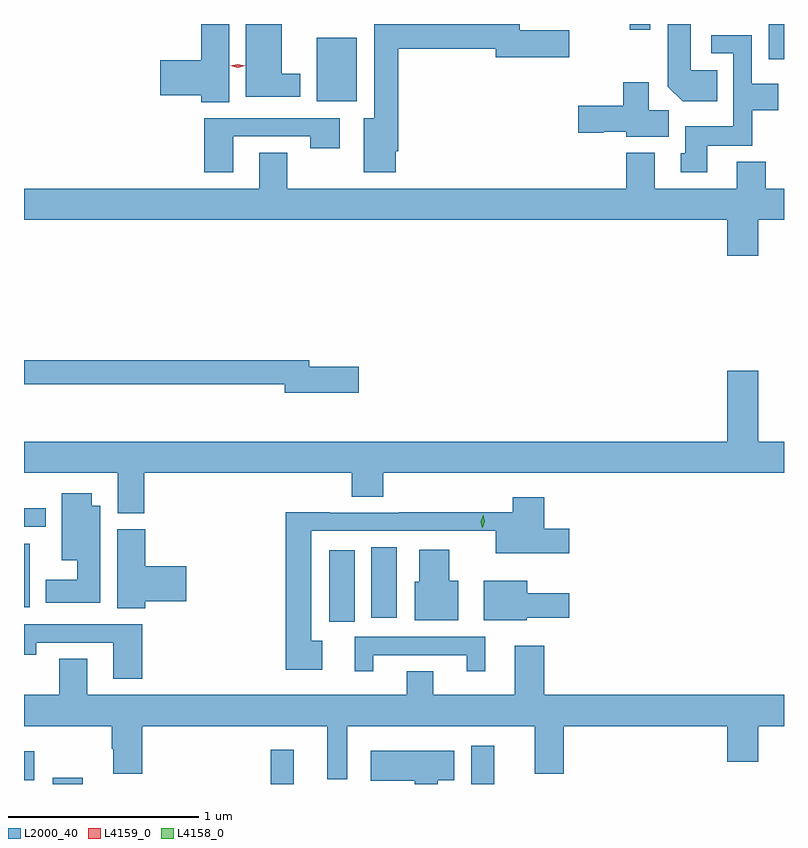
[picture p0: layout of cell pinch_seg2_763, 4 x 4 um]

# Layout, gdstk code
import gdstk
lib = gdstk.Library(unit=1e-6, precision=1e-09)
def R(c, l, rs):  # rectangles x0, y0, x1, y1
    for r in rs: c.add(gdstk.rectangle(r[:2], r[2:], *l))
def P(c, l, *ps):  # polygons
    for p in ps: c.add(gdstk.Polygon(p, *l))
L2000_40 = (2000, 40)
L4158_0 = (4158, 0)
L4159_0 = (4159, 0)

pinch_seg2_763 = lib.new_cell('pinch_seg2_763')
R(pinch_seg2_763, L2000_40, [(664.955,661.983,665.113,662.017), (666.102,661.983,666.223,662.164), (667.157,661.983,667.279,662.185), (664.804,662.003,664.858,662.155), (666.41,662.838,666.544,663.214), (666.632,662.859,666.766,663.23), (664.804,662.912,664.834,663.247), (664.804,663.336,664.918,663.434), (666.344,665.576,666.556,665.911), (668.724,665.798,668.804,665.983), (667.992,665.952,668.1,665.983)])
P(pinch_seg2_763, L2000_40, [(666.259,665.722),(666.16,665.722),(666.16,665.983),(665.972,665.983),(665.972,665.6),(666.259,665.6)],
  [(666.76,665.314),(666.773,665.314),(666.773,665.854),(667.286,665.854),(667.286,665.807),(667.675,665.807),(667.675,665.949),(667.414,665.949),(667.414,665.983),(666.647,665.983),(666.647,665.488),(666.593,665.488),(666.593,665.202),(666.76,665.202)],
  [(665.884,665.983),(665.738,665.983),(665.738,665.792),(665.52,665.792),(665.52,665.609),(665.738,665.609),(665.738,665.572),(665.884,665.572)],
  [(668.453,665.74),(668.314,665.74),(668.314,665.983),(668.192,665.983),(668.192,665.654),(668.27,665.576),(668.453,665.576)],
  [(668.401,665.342),(668.637,665.342),(668.637,665.528),(668.773,665.528),(668.773,665.668),(668.634,665.668),(668.634,665.925),(668.421,665.925),(668.421,665.829),(668.538,665.829),(668.538,665.446),(668.285,665.446),(668.285,665.304),(668.261,665.304),(668.261,665.202),(668.401,665.202)],
  [(668.197,665.528),(668.092,665.528),(668.092,665.677),(667.958,665.677),(667.958,665.552),(667.722,665.552),(667.722,665.41),(667.854,665.41),(667.854,665.417),(667.974,665.417),(667.974,665.39),(668.197,665.39)],
  [(665.905,665.391),(666.31,665.391),(666.31,665.328),(666.466,665.328),(666.466,665.487),(665.753,665.487),(665.753,665.202),(665.905,665.202)],
  [(668.668,664.952),(668.804,664.952),(668.804,665.116),(668.708,665.116),(668.708,665.257),(668.555,665.257),(668.555,665.116),(668.125,665.116),(668.125,665.305),(667.973,665.305),(667.973,665.116),(666.189,665.116),(666.189,665.306),(666.041,665.306),(666.041,665.116),(664.804,665.116),(664.804,664.952),(668.504,664.952),(668.504,664.764),(668.668,664.764)],
  [(666.565,664.178),(666.304,664.178),(666.304,664.214),(664.804,664.214),(664.804,664.086),(666.176,664.086),(666.176,664.043),(666.565,664.043)],
  [(665.438,663.62),(666.53,663.62),(666.53,663.496),(666.695,663.496),(666.695,663.62),(668.804,663.62),(668.804,663.784),(668.668,663.784),(668.668,664.159),(668.504,664.159),(668.504,663.784),(664.804,663.784),(664.804,663.62),(665.297,663.62),(665.297,663.409),(665.438,663.409)],
  [(665.206,663.448),(665.161,663.448),(665.161,663.514),(665.003,663.514),(665.003,663.161),(665.084,663.161),(665.084,663.058),(664.919,663.058),(664.919,662.936),(665.206,662.936)],
  [(666.373,662.738),(666.316,662.738),(666.316,663.315),(667.286,663.315),(667.286,663.197),(667.675,663.197),(667.675,663.327),(667.541,663.327),(667.541,663.493),(667.376,663.493),(667.376,663.413),(666.778,663.413),(666.778,663.411),(666.412,663.411),(666.412,663.413),(666.182,663.413),(666.182,662.585),(666.373,662.585)],
  [(665.441,662.945),(665.659,662.945),(665.659,663.128),(665.441,663.128),(665.441,663.324),(665.294,663.324),(665.294,662.908),(665.441,662.908)],
  [(667.09,663.052),(667.042,663.052),(667.042,663.217),(666.884,663.217),(666.884,663.048),(666.86,663.048),(666.86,662.846),(667.09,662.846)],
  [(667.449,662.857),(667.675,662.857),(667.675,662.986),(667.453,662.986),(667.453,663.052),(667.223,663.052),(667.223,662.846),(667.449,662.846)],
  [(665.426,662.823),(664.804,662.823),(664.804,662.664),(664.869,662.664),(664.869,662.727),(665.273,662.727),(665.273,662.538),(665.426,662.538)],
  [(666.643,662.661),(667.133,662.661),(667.133,662.577),(667.231,662.577),(667.231,662.757),(666.545,662.757),(666.545,662.577),(666.643,662.577)],
  [(665.137,662.642),(664.99,662.642),(664.99,662.452),(664.804,662.452),(664.804,662.288),(665.266,662.288),(665.266,662.168),(665.273,662.168),(665.273,662.036),(665.426,662.036),(665.426,662.288),(666.401,662.288),(666.401,662.007),(666.505,662.007),(666.505,662.288),(667.493,662.288),(667.493,662.036),(667.646,662.036),(667.646,662.288),(668.504,662.288),(668.504,662.1),(668.668,662.1),(668.668,662.288),(668.804,662.288),(668.804,662.452),(667.541,662.452),(667.541,662.71),(667.388,662.71),(667.388,662.452),(666.958,662.452),(666.958,662.576),(666.818,662.576),(666.818,662.452),(665.137,662.452)],
  [(666.982,662.003),(667.069,662.003),(667.069,662.158),(666.63,662.158),(666.63,662),(666.86,662),(666.86,661.983),(666.982,661.983)])
P(pinch_seg2_763, L4158_0, [(667.216,663.328),(667.216,663.328),(667.209,663.364),(667.22,663.4),(667.221,663.4),(667.221,663.4),(667.228,663.363),(667.217,663.328)])
P(pinch_seg2_763, L4159_0, [(665.929,665.752),(665.89,665.762),(665.89,665.762),(665.89,665.762),(665.929,665.772),(665.968,665.762),(665.968,665.762),(665.968,665.762)])

lib.write_gds('pinch_seg2_763.gds')
